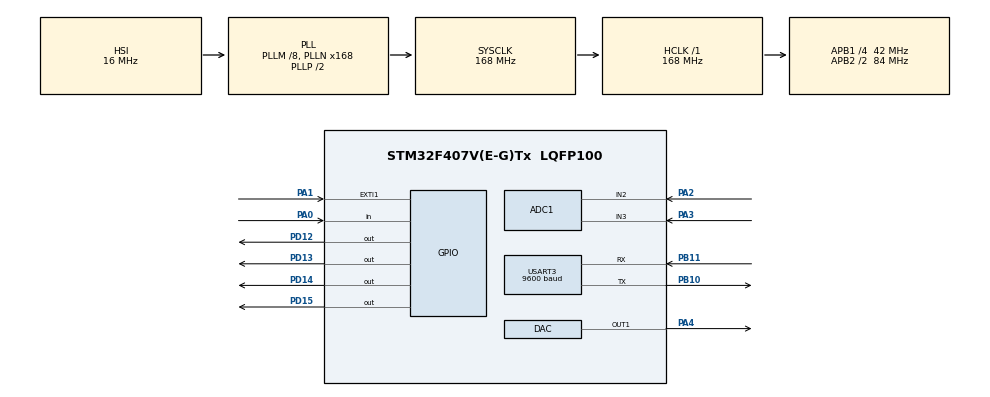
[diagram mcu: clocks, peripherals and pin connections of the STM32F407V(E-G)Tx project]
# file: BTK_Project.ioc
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ADC1.Channel-0\#ChannelRegularConversion=ADC_CHANNEL_2
ADC1.Channel-1\#ChannelRegularConversion=ADC_CHANNEL_3
ADC1.Channel-2\#ChannelRegularConversion=ADC_CHANNEL_TEMPSENSOR
ADC1.Channel-3\#ChannelRegularConversion=ADC_CHANNEL_VREFINT
ADC1.Channel-4\#ChannelRegularConversion=ADC_CHANNEL_VBAT
ADC1.ContinuousConvMode=ENABLE
ADC1.DMAContinuousRequests=ENABLE
ADC1.EOCSelection=ADC_EOC_SEQ_CONV
ADC1.NbrOfConversion=5
ADC1.NbrOfConversionFlag=1
ADC1.Rank-0\#ChannelRegularConversion=1
ADC1.Rank-1\#ChannelRegularConversion=2
ADC1.Rank-2\#ChannelRegularConversion=3
ADC1.Rank-3\#ChannelRegularConversion=4
ADC1.Rank-4\#ChannelRegularConversion=5
ADC1.SamplingTime-0\#ChannelRegularConversion=ADC_SAMPLETIME_56CYCLES
ADC1.SamplingTime-1\#ChannelRegularConversion=ADC_SAMPLETIME_56CYCLES
ADC1.SamplingTime-2\#ChannelRegularConversion=ADC_SAMPLETIME_480CYCLES
ADC1.SamplingTime-3\#ChannelRegularConversion=ADC_SAMPLETIME_480CYCLES
ADC1.SamplingTime-4\#ChannelRegularConversion=ADC_SAMPLETIME_480CYCLES
ADC1.ScanConvMode=ENABLE
ADC1.master=1
Dma.ADC1.0.Direction=DMA_PERIPH_TO_MEMORY
Dma.ADC1.0.FIFOMode=DMA_FIFOMODE_DISABLE
Dma.ADC1.0.Instance=DMA2_Stream0
Dma.ADC1.0.MemDataAlignment=DMA_MDATAALIGN_HALFWORD
Dma.ADC1.0.MemInc=DMA_MINC_ENABLE
Dma.ADC1.0.Mode=DMA_CIRCULAR
Dma.ADC1.0.PeriphDataAlignment=DMA_PDATAALIGN_HALFWORD
Dma.ADC1.0.PeriphInc=DMA_PINC_DISABLE
Dma.ADC1.0.Priority=DMA_PRIORITY_LOW
Dma.Request0=ADC1
Mcu.Family=STM32F4
Mcu.Name=STM32F407V(E-G)Tx
Mcu.Package=LQFP100
NVIC.DMA2_Stream0_IRQn=true\:0\:0\:false\:false\:true\:false\:true\:true
NVIC.EXTI1_IRQn=true\:0\:0\:false\:false\:true\:true\:true\:true
NVIC.PriorityGroup=NVIC_PRIORITYGROUP_4
NVIC.USART3_IRQn=true\:0\:0\:false\:false\:true\:true\:true\:true
PA0-WKUP.Signal=GPIO_Input
PA1.Signal=GPXTI1
PA13.Mode=Serial_Wire
PA13.Signal=SYS_JTMS-SWDIO
PA14.Mode=Serial_Wire
PA14.Signal=SYS_JTCK-SWCLK
PA2.Signal=ADCx_IN2
PA3.Signal=ADCx_IN3
PA4.Signal=COMP_DAC1_group
PB10.Mode=Asynchronous
PB10.Signal=USART3_TX
PB11.Mode=Asynchronous
PB11.Signal=USART3_RX
PD12.Signal=GPIO_Output
PD13.Signal=GPIO_Output
PD14.Signal=GPIO_Output
PD15.Signal=GPIO_Output
PH0-OSC_IN.Mode=HSE-External-Oscillator
PH0-OSC_IN.Signal=RCC_OSC_IN
PH1-OSC_OUT.Mode=HSE-External-Oscillator
PH1-OSC_OUT.Signal=RCC_OSC_OUT
ProjectManager.HeapSize=0x200
ProjectManager.StackSize=0x400
ProjectManager.TargetToolchain=STM32CubeIDE
RCC.48MHZClocksFreq_Value=84000000
RCC.AHBFreq_Value=168000000
RCC.APB1CLKDivider=RCC_HCLK_DIV4
RCC.APB1Freq_Value=42000000
RCC.APB1TimFreq_Value=84000000
RCC.APB2CLKDivider=RCC_HCLK_DIV2
RCC.APB2Freq_Value=84000000
RCC.APB2TimFreq_Value=168000000
RCC.CortexFreq_Value=168000000
RCC.HCLKFreq_Value=168000000
RCC.HSE_VALUE=8000000
RCC.HSI_VALUE=16000000
RCC.LSE_VALUE=32768
RCC.PLLM=8
RCC.PLLN=168
RCC.SYSCLKFreq_VALUE=168000000
RCC.SYSCLKSource=RCC_SYSCLKSOURCE_PLLCLK
RCC.VCOOutputFreq_Value=336000000
SH.ADCx_IN2.0=ADC1_IN2,IN2
SH.ADCx_IN3.0=ADC1_IN3,IN3
SH.COMP_DAC1_group.0=DAC_OUT1,DAC_OUT1
USART3.BaudRate=9600
USART3.VirtualMode=VM_ASYNC
VP_ADC1_TempSens_Input.Mode=IN-TempSens
VP_ADC1_Vbat_Input.Mode=IN-Vbat
VP_ADC1_Vref_Input.Mode=IN-Vrefint
board=custom

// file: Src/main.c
/* USER CODE BEGIN Header */
/**
  ******************************************************************************
  * @file           : main.c
  * @brief          : Main program body
  ******************************************************************************
  * @attention
  *
  * Copyright (c) 2026 STMicroelectronics.
  * All rights reserved.
  *
  * This software is licensed under terms that can be found in the LICENSE file
  * in the root directory of this software component.
  * If no LICENSE file comes with this software, it is provided AS-IS.
  *
  ******************************************************************************
  */
/* USER CODE END Header */
#include "main.h"

/* USER CODE BEGIN Includes */
#include "io_driver.h"

#include  "adc_drive.h"

#include "uart_ex.h"

#include <stdlib.h>
/* USER CODE END Includes */

ADC_HandleTypeDef hadc1;
DMA_HandleTypeDef hdma_adc1;

DAC_HandleTypeDef hdac;

UART_HandleTypeDef huart3;

/* USER CODE BEGIN PV */
IO_Info_t ioInfo;

ADC_Info_t adcInfo;

UART_Ex_t uart3;
Circular_Buffer_t uartCbIn;
Circular_Buffer_t uartCbOut;

char rxBuffer[128];
/* USER CODE END PV */

void SystemClock_Config(void);
static void MX_GPIO_Init(void);
static void MX_DMA_Init(void);
static void MX_ADC1_Init(void);
static void MX_DAC_Init(void);
static void MX_USART3_UART_Init(void);

int main(void)
{

  /* MCU Configuration--------------------------------------------------------*/

  /* Reset of all peripherals, Initializes the Flash interface and the Systick. */
  HAL_Init();

  /* Configure the system clock */
  SystemClock_Config();

  /* Initialize all configured peripherals */
  MX_GPIO_Init();
  MX_DMA_Init();
  MX_ADC1_Init();
  MX_DAC_Init();
  MX_USART3_UART_Init();
  /* USER CODE BEGIN 2 */
 IO_Initalization(&ioInfo);

 UARTx_Initalization(&uart3, &huart3, &uartCbIn, &uartCbOut);

 ADC_Initialization(&adcInfo, &hadc1);

 if(adcInfo.adcError == ADC_Init_Start_Error)
 {
	 UARTx_Printf(&uart3, "ADC Initialization Error ! \r\n");
 }
 else
 {
	 UARTx_Printf(&uart3, "ADC Initialization Successfully ! ! \r\n");
 }

 HAL_DAC_Start(&hdac, DAC_CHANNEL_1);

  /* USER CODE END 2 */

  /* Infinite loop */
  while (1)
  {

    /* USER CODE BEGIN 3 */
	  IO_Status_Control(&ioInfo);

	  ADC_DMA_Conversion(&adcInfo);

	  HAL_DAC_SetValue(&hdac, DAC_CHANNEL_1, DAC_ALIGN_12B_R,adcInfo.adcAverageData[ADC_Channel_3] );

	  if(UARTx_ReadLine(&uart3, rxBuffer, sizeof(rxBuffer)))
	  {
		  if(strstr(rxBuffer, "LED1=ON") != NULL)
		  {
			  UARTx_Printf(&uart3, "GREEN LED TURN ON \r\n");
			  ioInfo.outputInfo.ledGreen.pinState = GPIO_PIN_SET;
		  }

		  else if(strstr(rxBuffer, "LED1=OFF") != NULL)
		  {
			  UARTx_Printf(&uart3, "GREEN LED TURN OFF \r\n");
			  ioInfo.outputInfo.ledGreen.pinState = GPIO_PIN_RESET;
		  }

		  else
		  {
			// for another message...
		  }

	  if(strstr(rxBuffer, "LED2=") != NULL)
	  {
		  char *equalPtr = strchr(rxBuffer, '=');

		  if(equalPtr != NULL)
		  {
			  uint8_t deger = (uint8_t)atoi(equalPtr + 1);

			  if(deger == 1)
			  {
				  UARTx_Printf(&uart3, "ORANGE LED TURN ON \r\n");
				  ioInfo.outputInfo.ledOrange.pinState = GPIO_PIN_SET;
			  }

			  else if(deger == 0)
			  {
				  UARTx_Printf(&uart3, "ORANGE LED TURN OFF \r\n");
				  ioInfo.outputInfo.ledOrange.pinState = GPIO_PIN_RESET;
			  }

			  else
			  {
				  UARTx_Printf(&uart3, "Lütfen Led durumunu 0 yada 1 olarak tekrar deneyiz ! \r\n");
			  }
		   }
	    }
     }
  }
  /* USER CODE END 3 */
}

void SystemClock_Config(void)
{
  RCC_OscInitTypeDef RCC_OscInitStruct = {0};
  RCC_ClkInitTypeDef RCC_ClkInitStruct = {0};

  /** Configure the main internal regulator output voltage
  */
  __HAL_RCC_PWR_CLK_ENABLE();
  __HAL_PWR_VOLTAGESCALING_CONFIG(PWR_REGULATOR_VOLTAGE_SCALE1);

  /** Initializes the RCC Oscillators according to the specified parameters
  * in the RCC_OscInitTypeDef structure.
  */
  RCC_OscInitStruct.OscillatorType = RCC_OSCILLATORTYPE_HSI;
  RCC_OscInitStruct.HSIState = RCC_HSI_ON;
  RCC_OscInitStruct.HSICalibrationValue = RCC_HSICALIBRATION_DEFAULT;
  RCC_OscInitStruct.PLL.PLLState = RCC_PLL_ON;
  RCC_OscInitStruct.PLL.PLLSource = RCC_PLLSOURCE_HSI;
  RCC_OscInitStruct.PLL.PLLM = 8;
  RCC_OscInitStruct.PLL.PLLN = 168;
  RCC_OscInitStruct.PLL.PLLP = RCC_PLLP_DIV2;
  RCC_OscInitStruct.PLL.PLLQ = 4;
  if (HAL_RCC_OscConfig(&RCC_OscInitStruct) != HAL_OK)
  {
    Error_Handler();
  }

  /** Initializes the CPU, AHB and APB buses clocks
  */
  RCC_ClkInitStruct.ClockType = RCC_CLOCKTYPE_HCLK|RCC_CLOCKTYPE_SYSCLK
                              |RCC_CLOCKTYPE_PCLK1|RCC_CLOCKTYPE_PCLK2;
  RCC_ClkInitStruct.SYSCLKSource = RCC_SYSCLKSOURCE_PLLCLK;
  RCC_ClkInitStruct.AHBCLKDivider = RCC_SYSCLK_DIV1;
  RCC_ClkInitStruct.APB1CLKDivider = RCC_HCLK_DIV4;
  RCC_ClkInitStruct.APB2CLKDivider = RCC_HCLK_DIV2;

  if (HAL_RCC_ClockConfig(&RCC_ClkInitStruct, FLASH_LATENCY_5) != HAL_OK)
  {
    Error_Handler();
  }
}

static void MX_ADC1_Init(void)
{

  ADC_ChannelConfTypeDef sConfig = {0};

  /** Configure the global features of the ADC (Clock, Resolution, Data Alignment and number of conversion)
  */
  hadc1.Instance = ADC1;
  hadc1.Init.ClockPrescaler = ADC_CLOCK_SYNC_PCLK_DIV4;
  hadc1.Init.Resolution = ADC_RESOLUTION_12B;
  hadc1.Init.ScanConvMode = ENABLE;
  hadc1.Init.ContinuousConvMode = ENABLE;
  hadc1.Init.DiscontinuousConvMode = DISABLE;
  hadc1.Init.ExternalTrigConvEdge = ADC_EXTERNALTRIGCONVEDGE_NONE;
  hadc1.Init.ExternalTrigConv = ADC_SOFTWARE_START;
  hadc1.Init.DataAlign = ADC_DATAALIGN_RIGHT;
  hadc1.Init.NbrOfConversion = 5;
  hadc1.Init.DMAContinuousRequests = ENABLE;
  hadc1.Init.EOCSelection = ADC_EOC_SEQ_CONV;
  if (HAL_ADC_Init(&hadc1) != HAL_OK)
  {
    Error_Handler();
  }

  /** Configure for the selected ADC regular channel its corresponding rank in the sequencer and its sample time.
  */
  sConfig.Channel = ADC_CHANNEL_2;
  sConfig.Rank = 1;
  sConfig.SamplingTime = ADC_SAMPLETIME_56CYCLES;
  if (HAL_ADC_ConfigChannel(&hadc1, &sConfig) != HAL_OK)
  {
    Error_Handler();
  }

  /** Configure for the selected ADC regular channel its corresponding rank in the sequencer and its sample time.
  */
  sConfig.Channel = ADC_CHANNEL_3;
  sConfig.Rank = 2;
  if (HAL_ADC_ConfigChannel(&hadc1, &sConfig) != HAL_OK)
  {
    Error_Handler();
  }

  /** Configure for the selected ADC regular channel its corresponding rank in the sequencer and its sample time.
  */
  sConfig.Channel = ADC_CHANNEL_TEMPSENSOR;
  sConfig.Rank = 3;
  sConfig.SamplingTime = ADC_SAMPLETIME_480CYCLES;
  if (HAL_ADC_ConfigChannel(&hadc1, &sConfig) != HAL_OK)
  {
    Error_Handler();
  }

  /** Configure for the selected ADC regular channel its corresponding rank in the sequencer and its sample time.
  */
  sConfig.Channel = ADC_CHANNEL_VREFINT;
  sConfig.Rank = 4;
  if (HAL_ADC_ConfigChannel(&hadc1, &sConfig) != HAL_OK)
  {
    Error_Handler();
  }

  /** Configure for the selected ADC regular channel its corresponding rank in the sequencer and its sample time.
  */
  sConfig.Channel = ADC_CHANNEL_VBAT;
  sConfig.Rank = 5;
  if (HAL_ADC_ConfigChannel(&hadc1, &sConfig) != HAL_OK)
  {
    Error_Handler();
  }

}

static void MX_DAC_Init(void)
{

  DAC_ChannelConfTypeDef sConfig = {0};

  /** DAC Initialization
  */
  hdac.Instance = DAC;
  if (HAL_DAC_Init(&hdac) != HAL_OK)
  {
    Error_Handler();
  }

  /** DAC channel OUT1 config
  */
  sConfig.DAC_Trigger = DAC_TRIGGER_NONE;
  sConfig.DAC_OutputBuffer = DAC_OUTPUTBUFFER_ENABLE;
  if (HAL_DAC_ConfigChannel(&hdac, &sConfig, DAC_CHANNEL_1) != HAL_OK)
  {
    Error_Handler();
  }

}

static void MX_USART3_UART_Init(void)
{

  huart3.Instance = USART3;
  huart3.Init.BaudRate = 9600;
  huart3.Init.WordLength = UART_WORDLENGTH_8B;
  huart3.Init.StopBits = UART_STOPBITS_1;
  huart3.Init.Parity = UART_PARITY_NONE;
  huart3.Init.Mode = UART_MODE_TX_RX;
  huart3.Init.HwFlowCtl = UART_HWCONTROL_NONE;
  huart3.Init.OverSampling = UART_OVERSAMPLING_16;
  if (HAL_UART_Init(&huart3) != HAL_OK)
  {
    Error_Handler();
  }

}

static void MX_DMA_Init(void)
{

  /* DMA controller clock enable */
  __HAL_RCC_DMA2_CLK_ENABLE();

  /* DMA interrupt init */
  /* DMA2_Stream0_IRQn interrupt configuration */
  HAL_NVIC_SetPriority(DMA2_Stream0_IRQn, 0, 0);
  HAL_NVIC_EnableIRQ(DMA2_Stream0_IRQn);

}

static void MX_GPIO_Init(void)
{
  GPIO_InitTypeDef GPIO_InitStruct = {0};

  /* GPIO Ports Clock Enable */
  __HAL_RCC_GPIOH_CLK_ENABLE();
  __HAL_RCC_GPIOA_CLK_ENABLE();
  __HAL_RCC_GPIOB_CLK_ENABLE();
  __HAL_RCC_GPIOD_CLK_ENABLE();

  /*Configure GPIO pin Output Level */
  HAL_GPIO_WritePin(GPIOD, GPIO_PIN_12|GPIO_PIN_13|GPIO_PIN_14|GPIO_PIN_15, GPIO_PIN_RESET);

  /*Configure GPIO pin : PA0 */
  GPIO_InitStruct.Pin = GPIO_PIN_0;
  GPIO_InitStruct.Mode = GPIO_MODE_INPUT;
  GPIO_InitStruct.Pull = GPIO_NOPULL;
  HAL_GPIO_Init(GPIOA, &GPIO_InitStruct);

  /*Configure GPIO pin : PA1 */
  GPIO_InitStruct.Pin = GPIO_PIN_1;
  GPIO_InitStruct.Mode = GPIO_MODE_IT_RISING;
  GPIO_InitStruct.Pull = GPIO_NOPULL;
  HAL_GPIO_Init(GPIOA, &GPIO_InitStruct);

  /*Configure GPIO pins : PD12 PD13 PD14 PD15 */
  GPIO_InitStruct.Pin = GPIO_PIN_12|GPIO_PIN_13|GPIO_PIN_14|GPIO_PIN_15;
  GPIO_InitStruct.Mode = GPIO_MODE_OUTPUT_PP;
  GPIO_InitStruct.Pull = GPIO_NOPULL;
  GPIO_InitStruct.Speed = GPIO_SPEED_FREQ_LOW;
  HAL_GPIO_Init(GPIOD, &GPIO_InitStruct);

  /* EXTI interrupt init*/
  HAL_NVIC_SetPriority(EXTI1_IRQn, 0, 0);
  HAL_NVIC_EnableIRQ(EXTI1_IRQn);

}

void Error_Handler(void)
{
  __disable_irq();
  while (1)
  {
  }
}
